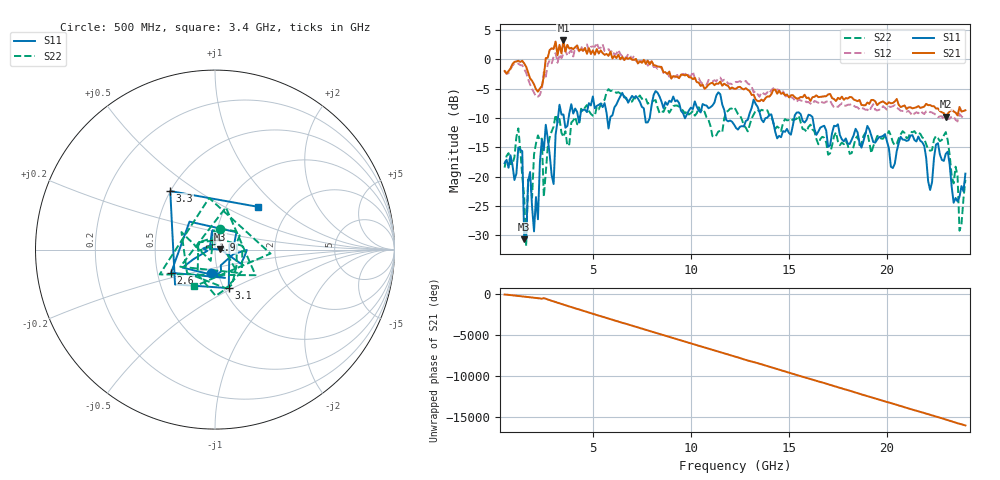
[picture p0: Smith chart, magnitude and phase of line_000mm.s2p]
!Created with skrf (http://scikit-rf.org).
# GHz S RI R 50.0
!freq ReS11 ImS11 ReS21 ImS21 ReS12 ImS12 ReS22 ImS22
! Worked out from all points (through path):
!   236 points, 500 MHz to 24 GHz, reference 50 ohm
!   highest |S21| = 3.24 dB at 3.5 GHz (marker M1); lowest = -9.8 dB at 23 GHz (marker M2)
!   lowest |S11| = -30.7 dB at 1.5 GHz (marker M3), VSWR 1.06, Z = 53 + j0.162 ohm
!   |S11| at or under -10 dB: start of sweep to 3.221 GHz; 11.78 GHz to 12.93 GHz (1.147 GHz wide, 9.29 % of centre); 16.21 GHz to end of sweep (the widest 3 of 11)
!   |S22| runs from -31.9 to -5.1 dB; largest |S21 - S12| = 2.6
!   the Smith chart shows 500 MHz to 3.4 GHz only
!   S11 on the Smith chart (normalised r, x): 500 MHz: 0.92, -0.24; 1.9 GHz: 0.98, +0.11; 2.6 GHz: 0.59, -0.16; 3.1 GHz: 1.05, -0.48; 3.3 GHz: 0.50, +0.39; 3.4 GHz: 1.40, +0.75
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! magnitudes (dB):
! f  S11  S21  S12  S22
! 500 MHz  -17.7  -2.0  -1.9  -18.5
! 1.2 GHz  -15.0  -0.2  -0.7  -11.8
! 1.4 GHz  -15.7  -0.2  -1.0  -19.9
! 1.5 GHz  -30.7  -0.7  -1.6  -23.6
! 1.6 GHz  -30.6  -1.3  -2.3  -31.9
! 1.7 GHz  -20.8  -2.3  -3.4  -20.5
! 1.9 GHz  -25.1  -3.6  -5.0  -23.6
! 2.2 GHz  -27.3  -5.5  -6.4  -13.0
! 2.6 GHz  -11.2  0.2  -3.0  -19.3
! 3 GHz  -21.3  1.8  0.4  -11.5
! 3.1 GHz  -12.8  3.1  1.1  -9.4
! 3.3 GHz  -7.7  2.5  0.9  -10.2
! 3.4 GHz  -9.4  1.0  0.2  -12.5
! 3.5 GHz  -9.4  3.2  1.0  -13.3
! 4.5 GHz  -8.6  1.4  1.6  -8.9
! 8.4 GHz  -6.3  -1.2  -1.4  -9.1
! 12.3 GHz  -11.7  -5.0  -3.8  -8.7
! 16.2 GHz  -9.8  -6.4  -7.7  -12.0
! 20.1 GHz  -15.2  -7.3  -8.1  -12.2
! 23 GHz  -16.1  -9.8  -10.4  -12.4
! 23.7 GHz  -23.4  -8.1  -9.3  -29.2
! 24 GHz  -19.5  -8.7  -10.0  -20.6
